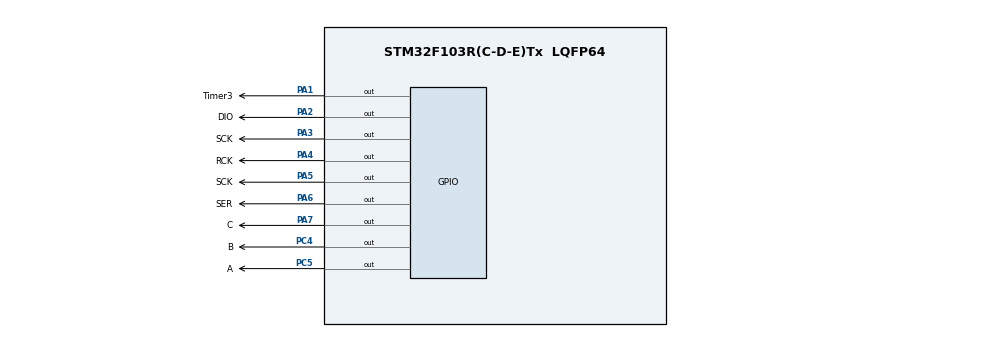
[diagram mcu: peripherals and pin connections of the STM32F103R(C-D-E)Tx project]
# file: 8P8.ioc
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Mcu.Family=STM32F1
Mcu.Name=STM32F103R(C-D-E)Tx
Mcu.Package=LQFP64
NVIC.PriorityGroup=NVIC_PRIORITYGROUP_4
NVIC.TIM3_IRQn=true\:0\:0\:false\:false\:true
PA1.GPIO_Label=Timer3
PA1.Signal=GPIO_Output
PA13.Mode=Serial_Wire
PA13.Signal=SYS_JTMS-SWDIO
PA14.Mode=Serial_Wire
PA14.Signal=SYS_JTCK-SWCLK
PA2.GPIO_Label=DIO
PA2.Signal=GPIO_Output
PA3.GPIO_Label=SCK
PA3.Signal=GPIO_Output
PA4.GPIO_Label=RCK
PA4.Signal=GPIO_Output
PA5.GPIO_Label=SCK
PA5.Signal=GPIO_Output
PA6.GPIO_Label=SER
PA6.Signal=GPIO_Output
PA7.GPIO_Label=C
PA7.Signal=GPIO_Output
PC4.GPIO_Label=B
PC4.Signal=GPIO_Output
PC5.GPIO_Label=A
PC5.Signal=GPIO_Output
ProjectManager.HeapSize=0x200
ProjectManager.StackSize=0x400
ProjectManager.TargetToolchain=MDK-ARM V5
RCC.APB1Freq_Value=8000000
RCC.APB2Freq_Value=8000000
TIM3.Period=7
TIM3.Prescaler=49
VP_TIM3_VS_ClockSourceINT.Mode=Internal
board=8P8

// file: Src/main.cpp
/**
  ******************************************************************************
  * File Name          : main.c
  * Description        : Main program body
  ******************************************************************************
  *
  * COPYRIGHT(c) 2016 STMicroelectronics
  *
  * Redistribution and use in source and binary forms, with or without modification,
  * are permitted provided that the following conditions are met:
  *   1. Redistributions of source code must retain the above copyright notice,
  *      this list of conditions and the following disclaimer.
  *   2. Redistributions in binary form must reproduce the above copyright notice,
  *      this list of conditions and the following disclaimer in the documentation
  *      and/or other materials provided with the distribution.
  *   3. Neither the name of STMicroelectronics nor the names of its contributors
  *      may be used to endorse or promote products derived from this software
  *      without specific prior written permission.
  *
  * THIS SOFTWARE IS PROVIDED BY THE COPYRIGHT HOLDERS AND CONTRIBUTORS "AS IS"
  * AND ANY EXPRESS OR IMPLIED WARRANTIES, INCLUDING, BUT NOT LIMITED TO, THE
  * IMPLIED WARRANTIES OF MERCHANTABILITY AND FITNESS FOR A PARTICULAR PURPOSE ARE
  * DISCLAIMED. IN NO EVENT SHALL THE COPYRIGHT HOLDER OR CONTRIBUTORS BE LIABLE
  * FOR ANY DIRECT, INDIRECT, INCIDENTAL, SPECIAL, EXEMPLARY, OR CONSEQUENTIAL
  * DAMAGES (INCLUDING, BUT NOT LIMITED TO, PROCUREMENT OF SUBSTITUTE GOODS OR
  * SERVICES; LOSS OF USE, DATA, OR PROFITS; OR BUSINESS INTERRUPTION) HOWEVER
  * CAUSED AND ON ANY THEORY OF LIABILITY, WHETHER IN CONTRACT, STRICT LIABILITY,
  * OR TORT (INCLUDING NEGLIGENCE OR OTHERWISE) ARISING IN ANY WAY OUT OF THE USE
  * OF THIS SOFTWARE, EVEN IF ADVISED OF THE POSSIBILITY OF SUCH DAMAGE.
  *
  ******************************************************************************
  */
#include "stm32f1xx_hal.h"

/* USER CODE BEGIN Includes */
#define ADDR_AUTO 0x40
#define ADDR_FIXED 0x44
#define STARTADDR 0xc0
#define BRIGHT(x) (x)
#define POINT_ON 1
#define POINT_OFF 0
/* USER CODE END Includes */

TIM_HandleTypeDef htim3;

/* USER CODE BEGIN PV */
/* Private variables ---------------------------------------------------------*/

/* USER CODE END PV */

void SystemClock_Config(void);
void Error_Handler(void);
static void MX_GPIO_Init(void);
static void MX_TIM3_Init(void);

/* USER CODE BEGIN PFP */
/* Private function prototypes -----------------------------------------------*/

/* USER CODE END PFP */

/* USER CODE BEGIN 0 */
void ROW0(void){
	HAL_GPIO_WritePin(GPIOC,GPIO_PIN_5,GPIO_PIN_RESET);//A
	HAL_GPIO_WritePin(GPIOC,GPIO_PIN_4,GPIO_PIN_RESET);//B
	HAL_GPIO_WritePin(GPIOA,GPIO_PIN_7,GPIO_PIN_RESET);//C
	HAL_GPIO_WritePin(GPIOA,GPIO_PIN_4,GPIO_PIN_SET);
	HAL_GPIO_WritePin(GPIOA,GPIO_PIN_4,GPIO_PIN_RESET);
}
void ROW1(void){
	HAL_GPIO_WritePin(GPIOC,GPIO_PIN_5,GPIO_PIN_SET);//A
	HAL_GPIO_WritePin(GPIOC,GPIO_PIN_4,GPIO_PIN_RESET);//B
	HAL_GPIO_WritePin(GPIOA,GPIO_PIN_7,GPIO_PIN_RESET);//C
	HAL_GPIO_WritePin(GPIOA,GPIO_PIN_4,GPIO_PIN_SET);
	HAL_GPIO_WritePin(GPIOA,GPIO_PIN_4,GPIO_PIN_RESET);
}
void ROW2(void){
	HAL_GPIO_WritePin(GPIOC,GPIO_PIN_5,GPIO_PIN_RESET);//A
	HAL_GPIO_WritePin(GPIOC,GPIO_PIN_4,GPIO_PIN_SET);//B
	HAL_GPIO_WritePin(GPIOA,GPIO_PIN_7,GPIO_PIN_RESET);//C
	HAL_GPIO_WritePin(GPIOA,GPIO_PIN_4,GPIO_PIN_SET);
	HAL_GPIO_WritePin(GPIOA,GPIO_PIN_4,GPIO_PIN_RESET);
}
void ROW3(void){
	HAL_GPIO_WritePin(GPIOC,GPIO_PIN_5,GPIO_PIN_SET);//A
	HAL_GPIO_WritePin(GPIOC,GPIO_PIN_4,GPIO_PIN_SET);//B
	HAL_GPIO_WritePin(GPIOA,GPIO_PIN_7,GPIO_PIN_RESET);//C
	HAL_GPIO_WritePin(GPIOA,GPIO_PIN_4,GPIO_PIN_SET);
	HAL_GPIO_WritePin(GPIOA,GPIO_PIN_4,GPIO_PIN_RESET);
}
void ROW4(void){
	HAL_GPIO_WritePin(GPIOC,GPIO_PIN_5,GPIO_PIN_RESET);//A
	HAL_GPIO_WritePin(GPIOC,GPIO_PIN_4,GPIO_PIN_RESET);//B
	HAL_GPIO_WritePin(GPIOA,GPIO_PIN_7,GPIO_PIN_SET);//C
	HAL_GPIO_WritePin(GPIOA,GPIO_PIN_4,GPIO_PIN_SET);
	HAL_GPIO_WritePin(GPIOA,GPIO_PIN_4,GPIO_PIN_RESET);
}
void ROW5(void){
	HAL_GPIO_WritePin(GPIOC,GPIO_PIN_5,GPIO_PIN_SET);//A
	HAL_GPIO_WritePin(GPIOC,GPIO_PIN_4,GPIO_PIN_RESET);//B
	HAL_GPIO_WritePin(GPIOA,GPIO_PIN_7,GPIO_PIN_SET);//C
	HAL_GPIO_WritePin(GPIOA,GPIO_PIN_4,GPIO_PIN_SET);
	HAL_GPIO_WritePin(GPIOA,GPIO_PIN_4,GPIO_PIN_RESET);
}
void ROW6(void){
	HAL_GPIO_WritePin(GPIOC,GPIO_PIN_5,GPIO_PIN_RESET);//A
	HAL_GPIO_WritePin(GPIOC,GPIO_PIN_4,GPIO_PIN_SET);//B
	HAL_GPIO_WritePin(GPIOA,GPIO_PIN_7,GPIO_PIN_SET);//C
	HAL_GPIO_WritePin(GPIOA,GPIO_PIN_4,GPIO_PIN_SET);
	HAL_GPIO_WritePin(GPIOA,GPIO_PIN_4,GPIO_PIN_RESET);
}
void ROW7(void){
	HAL_GPIO_WritePin(GPIOC,GPIO_PIN_5,GPIO_PIN_SET);//A
	HAL_GPIO_WritePin(GPIOC,GPIO_PIN_4,GPIO_PIN_SET);//B
	HAL_GPIO_WritePin(GPIOA,GPIO_PIN_7,GPIO_PIN_SET);//C
	HAL_GPIO_WritePin(GPIOA,GPIO_PIN_4,GPIO_PIN_SET);
	HAL_GPIO_WritePin(GPIOA,GPIO_PIN_4,GPIO_PIN_RESET);
}
typedef void (*_ROW)(void);
const _ROW ROW[8]={ROW0,ROW1,ROW2,ROW3,ROW4,ROW5,ROW6,ROW7};
const unsigned char dat[10][8]={
	{0x00,0x3C,0x24,0x24,0x24,0x24,0x24,0x3C},	//0
	{0x00,0x04,0x04,0x04,0x04,0x04,0x04,0x04},	//1
	{0x00,0x3C,0x04,0x04,0x3C,0x20,0x20,0x3C},  //2
	{0x00,0x3C,0x04,0x04,0x3C,0x04,0x04,0x3C},	//3
	{0x00,0x24,0x24,0x24,0x3C,0x04,0x04,0x04},	//4
	{0x00,0x3C,0x20,0x20,0x3C,0x04,0x04,0x3C},	//5
	{0x00,0x3C,0x20,0x20,0x3C,0x24,0x24,0x3C},	//6
	{0x00,0x3C,0x04,0x04,0x04,0x04,0x04,0x04},	//7
	{0x00,0x3C,0x24,0x24,0x3C,0x24,0x24,0x3C},	//8
	{0x00,0x3C,0x24,0x24,0x3C,0x04,0x04,0x3C}	//9
};
const unsigned char TubeTab[16]={0x3f,0x06,0x5b,0x4f,0x66,0x6d,0x7d,0x07,0x7f,0x6f,0x77,0x7c,0x39,0x5e,0x79,0x71};//0~9,A,b,C,d,E,F
void in_data(unsigned char n){
	unsigned char x,y;
	y=n;
	int i;
	for(x=8;x;--x){
		if(y&1)
			HAL_GPIO_WritePin(GPIOA,GPIO_PIN_6,GPIO_PIN_SET);
		else
			HAL_GPIO_WritePin(GPIOA,GPIO_PIN_6,GPIO_PIN_RESET);
		y>>=1;
		HAL_GPIO_WritePin(GPIOA,GPIO_PIN_5,GPIO_PIN_SET);
		for(i=0;i<100;i++);
		HAL_GPIO_WritePin(GPIOA,GPIO_PIN_5,GPIO_PIN_RESET);
		for(i=0;i<100;i++);
	}
}
void start (){
	HAL_GPIO_WritePin(GPIOA,DIO_Pin,GPIO_PIN_SET);
	HAL_GPIO_WritePin(GPIOA,SCK_Pin,GPIO_PIN_SET);
	HAL_GPIO_WritePin(GPIOA,DIO_Pin,GPIO_PIN_RESET);
	HAL_GPIO_WritePin(GPIOA,SCK_Pin,GPIO_PIN_RESET);
}
void stop(){
	HAL_GPIO_WritePin(GPIOA,SCK_Pin,GPIO_PIN_RESET);
	HAL_GPIO_WritePin(GPIOA,DIO_Pin,GPIO_PIN_RESET);
	HAL_GPIO_WritePin(GPIOA,SCK_Pin,GPIO_PIN_SET);
	HAL_GPIO_WritePin(GPIOA,DIO_Pin,GPIO_PIN_SET);
}
void write_byte(unsigned char n){
	unsigned char i,count=0;
	for(i=0;i<8;i++){
		HAL_GPIO_WritePin(GPIOA,SCK_Pin,GPIO_PIN_RESET);
		if (n&1) HAL_GPIO_WritePin(GPIOA,DIO_Pin,GPIO_PIN_SET);
		else HAL_GPIO_WritePin(GPIOA,DIO_Pin,GPIO_PIN_RESET);
		n>>=1;
		HAL_GPIO_WritePin(GPIOA,SCK_Pin,GPIO_PIN_SET);
	}
	HAL_GPIO_WritePin(GPIOA,SCK_Pin,GPIO_PIN_RESET);
	//HAL_GPIO_WritePin(GPIOA,DIO_Pin,GPIO_PIN_SET);
	//HAL_GPIO_WritePin(GPIOA,SCK_Pin,GPIO_PIN_SET);
	while(HAL_GPIO_ReadPin(GPIOA,DIO_Pin)){
		count+=1;
		if(count==200){
			HAL_GPIO_WritePin(GPIOA,DIO_Pin,GPIO_PIN_RESET);
			count=0;
		}
	}
	HAL_GPIO_WritePin(GPIOA,SCK_Pin,GPIO_PIN_SET);
	HAL_GPIO_WritePin(GPIOA,SCK_Pin,GPIO_PIN_RESET);
}
int n;
int LedCounter;
/* USER CODE END 0 */

int main(void)
{

  /* USER CODE BEGIN 1 */
	unsigned char row;

  /* USER CODE END 1 */

  /* MCU Configuration----------------------------------------------------------*/

  /* Reset of all peripherals, Initializes the Flash interface and the Systick. */
  HAL_Init();

  /* Configure the system clock */
  SystemClock_Config();

  /* Initialize all configured peripherals */
  MX_GPIO_Init();
  MX_TIM3_Init();
	HAL_TIM_Base_Start_IT(&htim3);

  /* Infinite loop */
  /* USER CODE BEGIN WHILE */
  while (1)
  {
		for(row=0;row<8;row++){
			in_data(dat[n][row]);
			ROW[row]();
		}
  /* USER CODE END WHILE */

  }

}

/** System Clock Configuration
*/
void SystemClock_Config(void)
{

  RCC_OscInitTypeDef RCC_OscInitStruct;
  RCC_ClkInitTypeDef RCC_ClkInitStruct;

  RCC_OscInitStruct.OscillatorType = RCC_OSCILLATORTYPE_HSI;
  RCC_OscInitStruct.HSIState = RCC_HSI_ON;
  RCC_OscInitStruct.HSICalibrationValue = 16;
  RCC_OscInitStruct.PLL.PLLState = RCC_PLL_NONE;
  if (HAL_RCC_OscConfig(&RCC_OscInitStruct) != HAL_OK)
  {
    Error_Handler();
  }

  RCC_ClkInitStruct.ClockType = RCC_CLOCKTYPE_HCLK|RCC_CLOCKTYPE_SYSCLK
                              |RCC_CLOCKTYPE_PCLK1|RCC_CLOCKTYPE_PCLK2;
  RCC_ClkInitStruct.SYSCLKSource = RCC_SYSCLKSOURCE_HSI;
  RCC_ClkInitStruct.AHBCLKDivider = RCC_SYSCLK_DIV1;
  RCC_ClkInitStruct.APB1CLKDivider = RCC_HCLK_DIV1;
  RCC_ClkInitStruct.APB2CLKDivider = RCC_HCLK_DIV1;
  if (HAL_RCC_ClockConfig(&RCC_ClkInitStruct, FLASH_LATENCY_0) != HAL_OK)
  {
    Error_Handler();
  }

  HAL_SYSTICK_Config(HAL_RCC_GetHCLKFreq()/1000);

  HAL_SYSTICK_CLKSourceConfig(SYSTICK_CLKSOURCE_HCLK);

  /* SysTick_IRQn interrupt configuration */
  HAL_NVIC_SetPriority(SysTick_IRQn, 0, 0);
}

/* TIM3 init function */
static void MX_TIM3_Init(void)
{

  TIM_ClockConfigTypeDef sClockSourceConfig;
  TIM_MasterConfigTypeDef sMasterConfig;

  htim3.Instance = TIM3;
  htim3.Init.Prescaler = 49;
  htim3.Init.CounterMode = TIM_COUNTERMODE_UP;
  htim3.Init.Period = 7;
  htim3.Init.ClockDivision = TIM_CLOCKDIVISION_DIV1;
  if (HAL_TIM_Base_Init(&htim3) != HAL_OK)
  {
    Error_Handler();
  }

  sClockSourceConfig.ClockSource = TIM_CLOCKSOURCE_INTERNAL;
  if (HAL_TIM_ConfigClockSource(&htim3, &sClockSourceConfig) != HAL_OK)
  {
    Error_Handler();
  }

  sMasterConfig.MasterOutputTrigger = TIM_TRGO_RESET;
  sMasterConfig.MasterSlaveMode = TIM_MASTERSLAVEMODE_DISABLE;
  if (HAL_TIMEx_MasterConfigSynchronization(&htim3, &sMasterConfig) != HAL_OK)
  {
    Error_Handler();
  }

}

/** Configure pins as
        * Analog
        * Input
        * Output
        * EVENT_OUT
        * EXTI
*/
static void MX_GPIO_Init(void)
{

  GPIO_InitTypeDef GPIO_InitStruct;

  /* GPIO Ports Clock Enable */
  __HAL_RCC_GPIOA_CLK_ENABLE();
  __HAL_RCC_GPIOC_CLK_ENABLE();

  /*Configure GPIO pin Output Level */
  HAL_GPIO_WritePin(GPIOA, Timer3_Pin|DIO_Pin|SCK_Pin|RCK_Pin
                          |SCKA5_Pin|SER_Pin|C_Pin, GPIO_PIN_RESET);

  /*Configure GPIO pin Output Level */
  HAL_GPIO_WritePin(GPIOC, B_Pin|A_Pin, GPIO_PIN_RESET);

  /*Configure GPIO pins : Timer3_Pin DIO_Pin SCK_Pin RCK_Pin
                           SCKA5_Pin SER_Pin C_Pin */
  GPIO_InitStruct.Pin = Timer3_Pin|DIO_Pin|SCK_Pin|RCK_Pin
                          |SCKA5_Pin|SER_Pin|C_Pin;
  GPIO_InitStruct.Mode = GPIO_MODE_OUTPUT_PP;
  GPIO_InitStruct.Speed = GPIO_SPEED_FREQ_LOW;
  HAL_GPIO_Init(GPIOA, &GPIO_InitStruct);

  /*Configure GPIO pins : B_Pin A_Pin */
  GPIO_InitStruct.Pin = B_Pin|A_Pin;
  GPIO_InitStruct.Mode = GPIO_MODE_OUTPUT_PP;
  GPIO_InitStruct.Speed = GPIO_SPEED_FREQ_LOW;
  HAL_GPIO_Init(GPIOC, &GPIO_InitStruct);

}

/* USER CODE BEGIN 4 */
void HAL_TIM_PeriodElapsedCallback(TIM_HandleTypeDef *htim){
	if(HAL_GPIO_ReadPin(GPIOA,Timer3_Pin)) HAL_GPIO_TogglePin(GPIOA,Timer3_Pin);
	++LedCounter;
	if(LedCounter==1000){
		HAL_GPIO_TogglePin(GPIOA,Timer3_Pin);
		LedCounter=0;
	}
}
/* USER CODE END 4 */

void Error_Handler(void)
{
  while(1)
  {
  }
}

/************************ (C) COPYRIGHT STMicroelectronics *****END OF FILE****/
